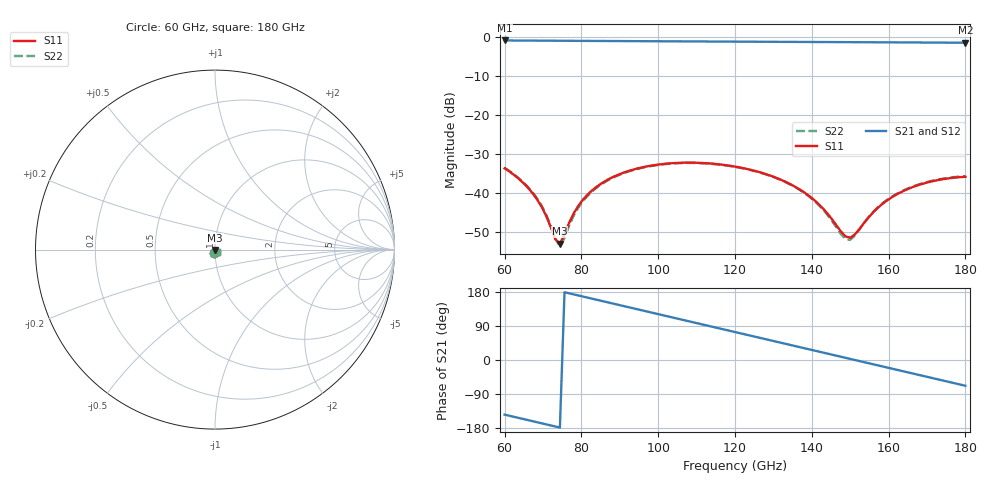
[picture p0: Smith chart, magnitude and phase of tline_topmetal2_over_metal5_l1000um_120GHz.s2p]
#  GHZ S DB R 50
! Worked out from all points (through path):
!   101 points, 60 GHz to 180 GHz, reference 50 ohm
!   highest |S21| = -0.76 dB at 60 GHz (marker M1); lowest = -1.3 dB at 180 GHz (marker M2)
!   group delay of S21, straight-line fit = 6.57 ps
!   lowest |S11| = -52.8 dB at 74.4 GHz (marker M3), VSWR 1.00, Z = 50.2 - j0.163 ohm
!   |S11| at or under -10 dB: start of sweep to end of sweep
!   |S22| runs from -53.5 to -32.2 dB; largest |S21 - S12| = 1e-13
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60  -33.55 -105.6  -0.76 -144.2  -0.76 -144.2  -33.44 -106.2
64.8  -37.24 -113.4  -0.79 -155.6  -0.79 -155.6  -37.07 -114.2
68.4  -41.44 -115.6  -0.81 -164.1  -0.81 -164.1  -41.18 -117.2
70.8  -45.71 -110.8  -0.82 -169.8  -0.82 -169.8  -45.36 -113.7
73.2  -51.74 -81.6  -0.83 -175.5  -0.83 -175.5  -51.59 -89.0
74.4  -52.83 -45.4  -0.84 -178.3  -0.84 -178.3  -53.51 -53.1
78  -45.10 3.1  -0.86 173.2  -0.86 173.2  -45.63 2.9
80.4  -41.60 5.8  -0.87 167.5  -0.87 167.5  -41.94 5.9
84  -38.25 2.7  -0.89 158.9  -0.89 158.9  -38.47 2.8
88.8  -35.52 -5.3  -0.91 147.6  -0.91 147.6  -35.67 -5.3
100.8  -32.49 -29.7  -0.97 119.2  -0.97 119.2  -32.58 -29.9
110.4  -32.14 -50.0  -1.02 96.5  -1.02 96.5  -32.20 -50.3
120  -33.11 -69.9  -1.06 73.8  -1.06 73.8  -33.17 -70.4
132  -36.49 -93.1  -1.12 45.4  -1.12 45.4  -36.58 -93.8
140.4  -41.49 -103.9  -1.15 25.6  -1.15 25.6  -41.67 -105.0
144  -45.05 -101.9  -1.17 17.1  -1.17 17.1  -45.37 -103.2
148.8  -51.02 -68.0  -1.19 5.7  -1.19 5.7  -51.69 -66.4
150  -51.33 -49.7  -1.20 2.9  -1.20 2.9  -51.85 -46.5
156  -44.82 -6.8  -1.23 -11.3  -1.23 -11.3  -44.71 -4.9
160.8  -41.00 -7.4  -1.25 -22.6  -1.25 -22.6  -40.86 -6.5
169.2  -37.42 -20.7  -1.29 -42.5  -1.29 -42.5  -37.28 -20.4
180  -35.72 -42.8  -1.34 -68.0  -1.34 -68.0  -35.57 -43.0
